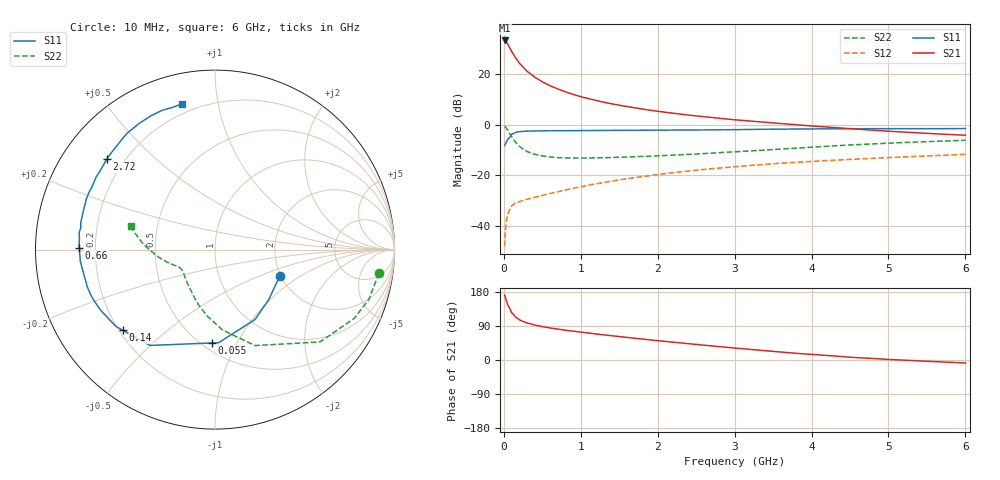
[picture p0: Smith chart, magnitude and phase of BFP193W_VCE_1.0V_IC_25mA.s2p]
! Infineon Technologies  Discrete & RF Semiconductors
! BFP193W
! VCE = 1.0 V,  IC =  25 mA
! Common Emitter S-Parameters:  Jan 2016
# GHz  S  MA  R  50
!  f  S11  S21  S12  S22
! GHz  MAG  ANG  MAG  ANG  MAG  ANG  MAG  ANG
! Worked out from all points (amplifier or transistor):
!   210 points, 10 MHz to 6 GHz, reference 50 ohm
!   highest |S21| = 33.3 dB at 10 MHz (marker M1)
!   |S21| within 3 dB of that: start of sweep to 77.23 MHz
!   unconditionally stable (mu >= 1): 733.1 MHz to 5.838 GHz
!   at 185 MHz: K = 0.41, MSG = 27.9 dB, |S12| = -30.7 dB
!   at 1.52 GHz: K = 1.17, MAG = 12.2 dB, |S12| = -21.8 dB
!   at 6 GHz: K = 0.99, MSG = 3.8 dB, |S12| = -11.8 dB
!   S11 on the Smith chart (normalised r, x): 10 MHz: 1.97, -0.69; 55 MHz: 0.56, -0.80; 140 MHz: 0.21, -0.36; 660 MHz: 0.14, +0.01; 2.72 GHz: 0.14, +0.36; 6 GHz: 0.15, +0.79
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0.01  0.3894 -22.3  46.27 171.6  0.0039 84.5  0.9229 -8.2
0.02  0.4098 -43.3  45.42 164.8  0.0078 73.9  0.9012 -17.9
0.03  0.4488 -60.3  43.77 157.8  0.0115 70.7  0.8652 -26.3
0.05  0.5189 -87.7  39.14 145.4  0.0168 61.0  0.7793 -41.3
0.055  0.5203 -91.9  37.9 143.9  0.0175 58.8  0.7539 -43.2
0.1  0.6448 -124.1  28.37 125.1  0.0243 45.3  0.5796 -67.3
0.14  0.6826 -138.8  22.48 116.3  0.0272 40.5  0.4723 -80.4
0.15  0.6985 -142.2  21.12 113.3  0.0279 39.5  0.4505 -84.6
0.2  0.7216 -152.2  16.54 106.3  0.0296 37.4  0.3735 -96.5
0.24  0.7323 -157.5  14.16 102.5  0.0311 37.0  0.3354 -103.5
0.3  0.7411 -163.7  11.4 97.8  0.0331 38.0  0.2926 -112.8
0.4  0.7454 -170.4  8.684 92.2  0.0361 40.5  0.2572 -123.5
0.5  0.7533 -175.2  7.012 88.0  0.0395 43.4  0.239 -131.1
0.66  0.7562 179.2  5.387 82.8  0.0451 47.0  0.224 -139.2
1.02  0.7588 170.2  3.496 73.1  0.0593 52.7  0.2178 -149.0
1.4  0.766 162.6  2.577 64.0  0.0757 55.0  0.2232 -153.8
2.02  0.771 151.5  1.813 50.6  0.1034 54.5  0.2411 -158.5
2.72  0.7854 140.0  1.369 36.8  0.1343 51.4  0.2728 -164.7
3.1  0.7948 134.2  1.207 29.9  0.1504 49.0  0.2938 -168.6
4.1  0.8206 120.2  0.914 13.4  0.1899 41.8  0.363 -179.5
5.1  0.8291 109.9  0.723 0.6  0.225 35.2  0.4344 170.8
6  0.8328 102.6  0.614 -7.8  0.2571 29.6  0.4877 164.6
